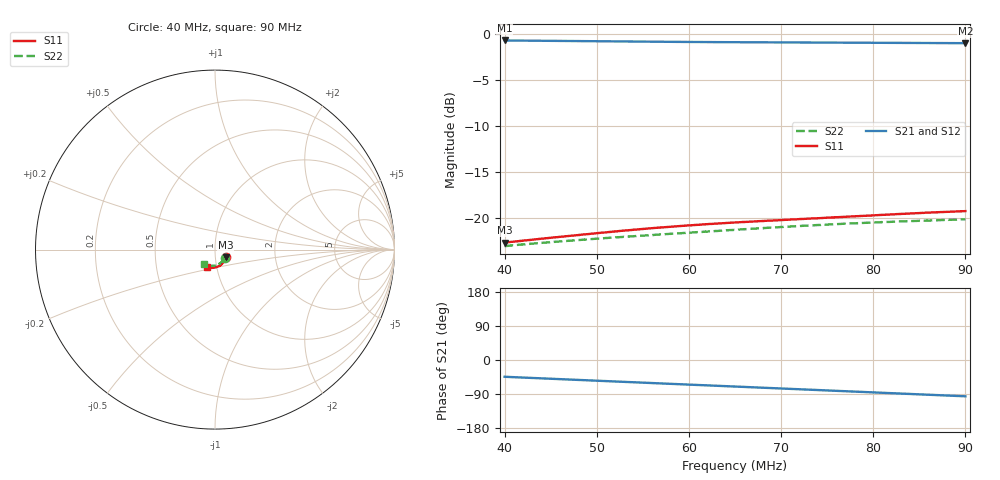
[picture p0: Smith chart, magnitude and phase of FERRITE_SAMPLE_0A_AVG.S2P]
!Agilent Technologies,E5061B,MY49102235,A.02.00
!Date: Mon Jul 03 10:55:16 2023
!Data & Calibration Information:
!Freq	S11:SOLT2(ON)	S21:SOLT2(ON)	S12:SOLT2(ON)	S22:SOLT2(ON)
# Hz S RI R 50
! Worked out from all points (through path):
!   1600 points, 40 MHz to 90 MHz, reference 50 ohm
!   highest |S21| = -0.65 dB at 40.03 MHz (marker M1); lowest = -0.9 dB at 90 MHz (marker M2)
!   group delay of S21, straight-line fit = 2.86 ns
!   lowest |S11| = -22.6 dB at 40 MHz (marker M3), VSWR 1.16, Z = 56.1 - j4.89 ohm
!   |S11| at or under -10 dB: start of sweep to end of sweep
!   |S22| runs from -23.0 to -20.1 dB; largest |S21 - S12| = 0.0011
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4e7  0.0598 -0.0433  0.6641 -0.6473  0.6642 -0.6465  0.0544 -0.045
4.003127e7  0.0598 -0.0434  0.6638 -0.6477  0.6639 -0.6467  0.0544 -0.045
4.087555e7  0.0593 -0.0454  0.653 -0.6571  0.6533 -0.6563  0.0536 -0.047
4.450281e7  0.0565 -0.0538  0.6062 -0.6957  0.6062 -0.6954  0.0493 -0.0551
4.834897e7  0.0522 -0.0627  0.5543 -0.7335  0.5544 -0.7331  0.0436 -0.0628
5.225766e7  0.0465 -0.0712  0.4993 -0.7682  0.4995 -0.7677  0.0366 -0.07
5.482176e7  0.0423 -0.0765  0.4623 -0.7884  0.4625 -0.7883  0.0313 -0.0741
5.666667e7  0.0389 -0.08  0.4353 -0.802  0.4354 -0.8017  0.0274 -0.0767
5.898061e7  0.0344 -0.0841  0.4011 -0.8178  0.4009 -0.8176  0.0222 -0.0799
6.082552e7  0.0303 -0.0871  0.3733 -0.8295  0.3732 -0.8292  0.0179 -0.0822
6.501563e7  0.0206 -0.0927  0.3092 -0.8529  0.3093 -0.8523  0.00726 -0.0864
6.901814e7  0.0105 -0.0968  0.2469 -0.8709  0.2472 -0.8703  -0.0036 -0.0891
7.126954e7  0.00455 -0.0985  0.2114 -0.8792  0.2116 -0.8785  -0.0099 -0.0899
7.33646e7  -0.00112 -0.0999  0.1778 -0.8858  0.1783 -0.885  -0.0159 -0.0902
7.533458e7  -0.00625 -0.1007  0.1463 -0.8906  0.1466 -0.89  -0.0213 -0.0902
7.746091e7  -0.0121 -0.1015  0.112 -0.8947  0.1123 -0.8941  -0.0275 -0.0897
7.936836e7  -0.0174 -0.1019  0.081 -0.8971  0.0815 -0.8967  -0.0327 -0.0888
8.16823e7  -0.0237 -0.1022  0.0435 -0.8988  0.044 -0.8985  -0.0391 -0.0873
8.358974e7  -0.0288 -0.102  0.0125 -0.8991  0.013 -0.8987  -0.0441 -0.0858
8.596623e7  -0.0351 -0.1015  -0.0259 -0.8977  -0.0256 -0.8976  -0.0501 -0.0834
8.971857e7  -0.0449 -0.0998  -0.0861 -0.8926  -0.0861 -0.8922  -0.0593 -0.0789
9e7  -0.0456 -0.0996  -0.0905 -0.8919  -0.0906 -0.8918  -0.06 -0.0785
